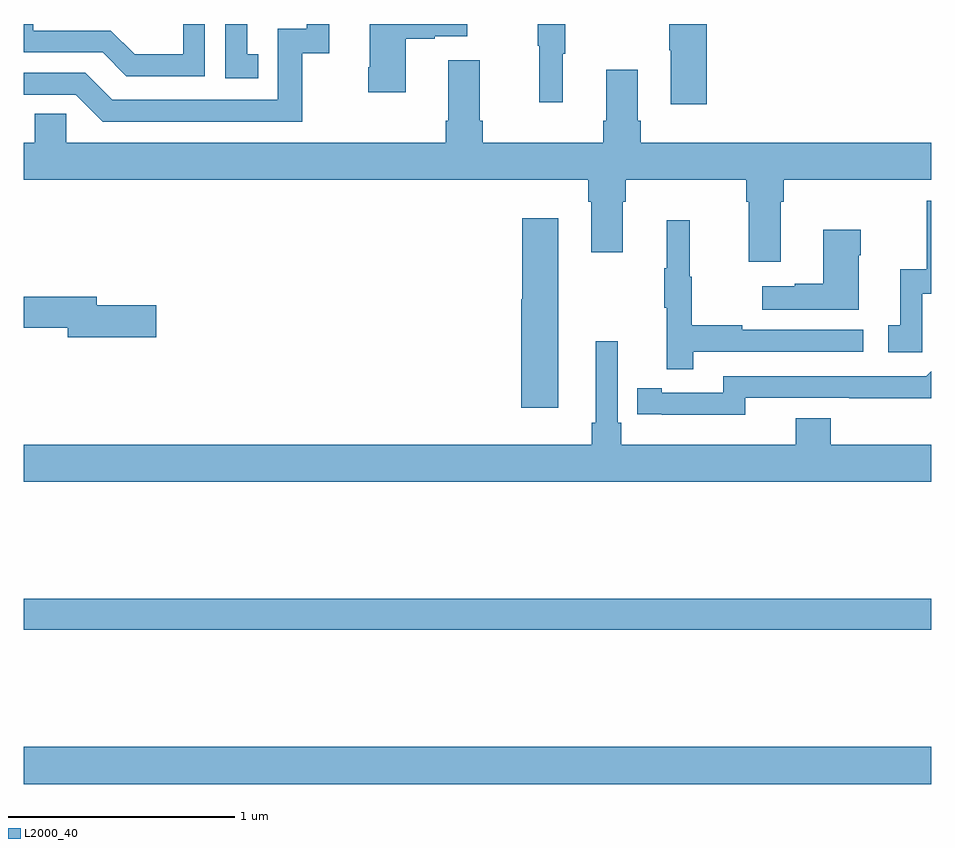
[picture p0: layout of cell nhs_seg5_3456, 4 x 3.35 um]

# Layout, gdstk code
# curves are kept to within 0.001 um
import gdstk
lib = gdstk.Library(unit=1e-6, precision=1e-09)
def R(c, l, rs):  # rectangles x0, y0, x1, y1
    for r in rs: c.add(gdstk.rectangle(r[:2], r[2:], *l))
def P(c, l, *ps):  # polygons
    for p in ps: c.add(gdstk.Polygon(p, *l))
L2000_40 = (2000, 40)

nhs_seg5_3456 = lib.new_cell('nhs_seg5_3456')
R(nhs_seg5_3456, L2000_40, [(315,835.448,319,835.612), (315,836.128,319,836.264)])
P(nhs_seg5_3456, L2000_40, [(316.034,838.665),(315.985,838.665),(315.985,838.799),(315.888,838.799),(315.888,838.56),(316.034,838.56)],
  [(316.684,838.735),(316.811,838.735),(316.811,838.745),(316.954,838.745),(316.954,838.799),(316.526,838.799),(316.526,838.609),(316.519,838.609),(316.519,838.497),(316.684,838.497)],
  [(316.228,838.671),(316.346,838.671),(316.346,838.799),(316.248,838.799),(316.248,838.779),(316.119,838.779),(316.119,838.464),(315.39,838.464),(315.27,838.584),(315,838.584),(315,838.488),(315.228,838.488),(315.348,838.368),(316.228,838.368)],
  [(317.375,838.667),(317.386,838.667),(317.386,838.799),(317.265,838.799),(317.265,838.704),(317.272,838.704),(317.272,838.455),(317.375,838.455)],
  [(315.798,838.799),(315.702,838.799),(315.702,838.666),(315.488,838.666),(315.384,838.77),(315.042,838.77),(315.042,838.799),(315,838.799),(315,838.674),(315.347,838.674),(315.452,838.569),(315.798,838.569)],
  [(318.011,838.799),(317.845,838.799),(317.845,838.684),(317.852,838.684),(317.852,838.446),(318.011,838.446)],
  [(318.337,838.016),(318.35,838.016),(318.35,838.112),(319,838.112),(319,838.276),(317.72,838.276),(317.72,838.372),(317.707,838.372),(317.707,838.597),(317.567,838.597),(317.567,838.372),(317.555,838.372),(317.555,838.276),(317.024,838.276),(317.024,838.372),(317.011,838.372),(317.011,838.639),(316.871,838.639),(316.871,838.372),(316.859,838.372),(316.859,838.276),(315.186,838.276),(315.186,838.403),(315.047,838.403),(315.047,838.276),(315,838.276),(315,838.112),(317.489,838.112),(317.489,838.016),(317.501,838.016),(317.501,837.792),(317.641,837.792),(317.641,838.016),(317.654,838.016),(317.654,838.112),(318.185,838.112),(318.185,838.016),(318.197,838.016),(318.197,837.75),(318.337,837.75)],
  [(318.96,837.609),(319,837.609),(319,838.02),(318.981,838.02),(318.981,837.718),(318.863,837.718),(318.863,837.471),(318.81,837.471),(318.81,837.351),(318.96,837.351)],
  [(317.356,837.943),(317.198,837.943),(317.198,837.585),(317.192,837.585),(317.192,837.108),(317.356,837.108)],
  [(317.951,837.354),(318.7,837.354),(318.7,837.45),(318.167,837.45),(318.167,837.47),(317.944,837.47),(317.944,837.684),(317.936,837.684),(317.936,837.934),(317.834,837.934),(317.834,837.721),(317.823,837.721),(317.823,837.547),(317.834,837.547),(317.834,837.276),(317.951,837.276)],
  [(318.682,837.779),(318.69,837.779),(318.69,837.892),(318.524,837.892),(318.524,837.653),(318.398,837.653),(318.398,837.643),(318.255,837.643),(318.255,837.539),(318.682,837.539)],
  [(315.583,837.56),(315.322,837.56),(315.322,837.596),(315,837.596),(315,837.46),(315.194,837.46),(315.194,837.418),(315.583,837.418)],
  [(319,836.944),(318.557,836.944),(318.557,837.061),(318.404,837.061),(318.404,836.944),(317.633,836.944),(317.633,837.04),(317.619,837.04),(317.619,837.4),(317.522,837.4),(317.522,837.04),(317.503,837.04),(317.503,836.944),(315,836.944),(315,836.78),(319,836.78)],
  [(318.18,837.15),(319,837.149),(319,837.268),(318.978,837.246),(318.084,837.246),(318.084,837.174),(317.812,837.174),(317.812,837.194),(317.704,837.194),(317.704,837.078),(318.18,837.077)])

lib.write_gds('nhs_seg5_3456.gds')
